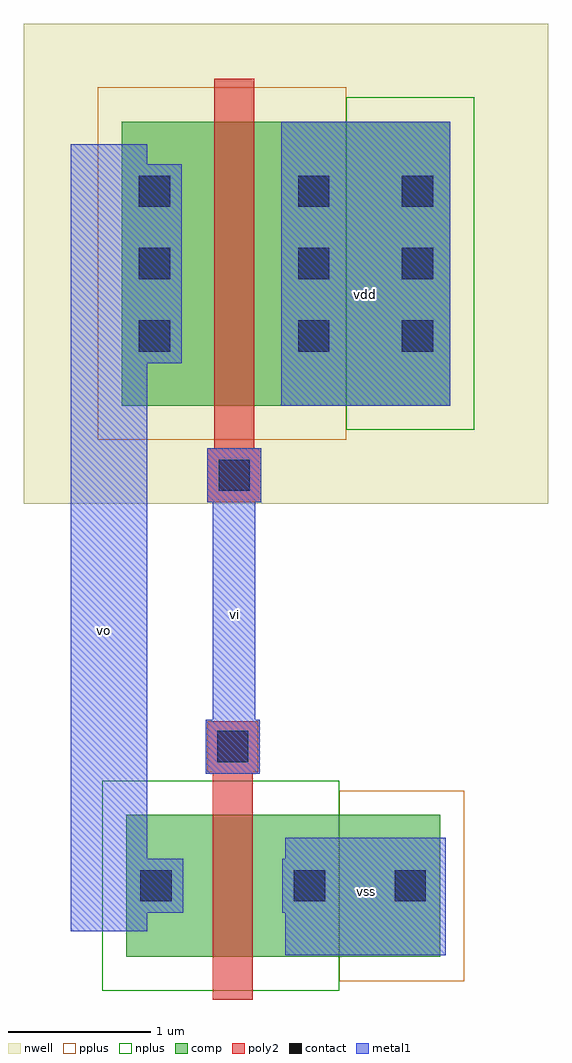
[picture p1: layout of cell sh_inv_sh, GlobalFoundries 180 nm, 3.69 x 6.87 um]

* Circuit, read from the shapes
.subckt sh_inv_sh vdd vi vo vss
XM1 vss vi vo vss nfet_03v3 w=1u l=0.28u
XM2 vdd vi vo vdd pfet_03v3 w=2u l=0.28u
.ends

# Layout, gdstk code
import gdstk
lib = gdstk.Library(unit=1e-6, precision=5e-09)
def R(c, l, rs):  # rectangles x0, y0, x1, y1
    for r in rs: c.add(gdstk.rectangle(r[:2], r[2:], *l))
def A(c, l, x, y, w, h, nx, ny, dx, dy):  # array of equal rectangles
    R(c, l, [(x+i*dx, y+j*dy, x+i*dx+w, y+j*dy+h) for i in range(nx) for j in range(ny)])
nwell = (21, 0)
comp = (22, 0)
poly2 = (30, 0)
pplus = (31, 0)
nplus = (32, 0)
contact = (33, 0)
metal1 = (34, 0)

sh_nfet = lib.new_cell('sh_nfet')
R(sh_nfet, comp, [(-0.42,0,0,1), (0,0,0.66,1), (0.66,0,1.08,1), (1.08,0,1.79,1)])
R(sh_nfet, poly2, [(0.19,-0.3,0.47,1.3), (0.15,1.3,0.51,1.66)])
R(sh_nfet, pplus, [(1.08,-0.17,1.96,1.17)])
R(sh_nfet, nplus, [(-0.59,-0.24,1.08,1.24)])
R(sh_nfet, contact, [(-0.32,0.39,-0.1,0.61), (0.76,0.39,0.98,0.61), (1.47,0.39,1.69,0.61), (0.22,1.37,0.44,1.59)])
R(sh_nfet, metal1, [(-0.4,0.31,-0.02,0.69), (0.68,0.31,1.06,0.69), (1.39,0.31,1.77,0.69), (0.14,1.29,0.52,1.67)])

sh_pfet = lib.new_cell('sh_pfet')
R(sh_pfet, nwell, [(-1.15,-0.69,2.54,2.69)])
R(sh_pfet, comp, [(-0.46,0,0,2), (0,0,0.66,2), (0.66,0,1.12,2), (1.12,0,1.85,2)])
R(sh_pfet, poly2, [(0.14,-0.68,0.52,-0.3), (0.19,-0.3,0.47,2.3)])
R(sh_pfet, pplus, [(-0.63,-0.24,1.12,2.24)])
R(sh_pfet, nplus, [(1.12,-0.17,2.02,2.17)])
A(sh_pfet, contact, -0.34, 0.38, 0.22, 0.22, 1, 3, 0, 0.51)
A(sh_pfet, contact, 0.78, 0.38, 0.22, 0.22, 1, 3, 0, 0.51)
A(sh_pfet, contact, 1.51, 0.38, 0.22, 0.22, 1, 3, 0, 0.51)
R(sh_pfet, contact, [(0.22,-0.6,0.44,-0.38)])
R(sh_pfet, metal1, [(0.14,-0.68,0.52,-0.3), (-0.42,0.3,-0.04,1.7), (0.7,0.3,1.08,1.7), (1.43,0.3,1.81,1.7)])

sh_inv_sh = lib.new_cell('sh_inv_sh')
R(sh_inv_sh, metal1, [(0.29,-1.01,1.42,-0.18), (-1.22,-0.84,-0.68,4.7), (0.26,2.86,1.45,4.86)])
sh_inv_sh.add(gdstk.FlexPath([(-0.07,2.37),(-0.07,0.43),(-0.07,0.43)], 0.3, ends="flush", simple_path=True, layer=34, datatype=0))  # metal1
sh_inv_sh.add(gdstk.Reference(sh_nfet, (-0.41,-1.02)))
sh_inv_sh.add(gdstk.Reference(sh_pfet, (-0.4,2.86)))
sh_inv_sh.add(gdstk.Label('vdd', (0.855,3.64), layer=34, texttype=10))
sh_inv_sh.add(gdstk.Label('vss', (0.86,-0.56), layer=34, texttype=10))
sh_inv_sh.add(gdstk.Label('vo', (-0.99,1.28), layer=34, texttype=10))
sh_inv_sh.add(gdstk.Label('vi', (-0.07,1.39), layer=34, texttype=10))

lib.write_gds('sh_inv_sh.gds')
